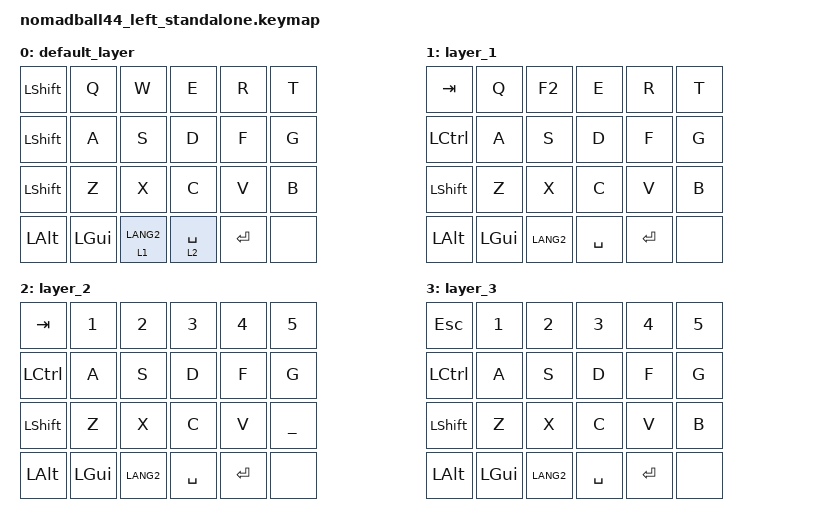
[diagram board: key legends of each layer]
// 非 split 左手検証用（24 キー・sensor なし・LANG1 位置を Enter に差し替え）

#include <behaviors.dtsi>
#include <dt-bindings/zmk/keys.h>

/ {
    behaviors {
        hold_tap: hold_tap {
            compatible = "zmk,behavior-hold-tap";
            label = "HOLD_TAP";
            bindings = <&mo>, <&kp>;

            #binding-cells = <2>;
            tapping-term-ms = <150>;
            require-prior-idle-ms = <150>;
        };
    };

    keymap {
        compatible = "zmk,keymap";

        default_layer {
            bindings = <
&kp LEFT_SHIFT  &kp Q     &kp W     &kp E     &kp R     &kp T
&kp LEFT_SHIFT  &kp A     &kp S     &kp D     &kp F     &kp G
&kp LEFT_SHIFT  &kp Z     &kp X     &kp C     &kp V     &kp B
&kp LEFT_ALT    &kp LGUI  &hold_tap 1 LANG2  &hold_tap 2 SPACE  &kp ENTER  &none
            >;
        };

        layer_1 {
            bindings = <
&kp TAB         &kp Q     &kp F2    &kp E     &kp R     &kp T
&kp LCTRL       &kp A     &kp S     &kp D     &kp F     &kp G
&kp LEFT_SHIFT  &kp Z     &kp X     &kp C     &kp V     &kp B
&kp LEFT_ALT    &kp LGUI  &kp LANG2 &kp SPACE &kp ENTER &none
            >;
        };

        layer_2 {
            bindings = <
&kp TAB         &kp N1    &kp N2    &kp N3    &kp N4    &kp N5
&kp LCTRL       &kp A     &kp S     &kp D     &kp F     &kp G
&kp LEFT_SHIFT  &kp Z     &kp X     &kp C     &kp V     &kp UNDERSCORE
&kp LEFT_ALT    &kp LGUI  &kp LANG2 &kp SPACE &kp ENTER &none
            >;
        };

        layer_3 {
            bindings = <
&kp ESC         &kp N1    &kp N2    &kp N3    &kp N4    &kp N5
&kp LCTRL       &kp A     &kp S     &kp D     &kp F     &kp G
&kp LEFT_SHIFT  &kp Z     &kp X     &kp C     &kp V     &kp B
&kp LEFT_ALT    &kp LGUI  &kp LANG2 &kp SPACE &kp ENTER &none
            >;
        };
    };
};
